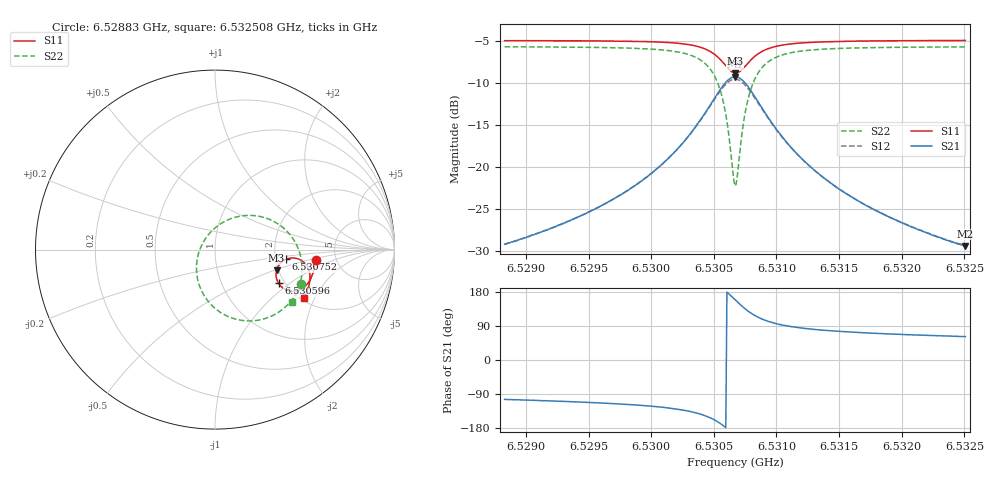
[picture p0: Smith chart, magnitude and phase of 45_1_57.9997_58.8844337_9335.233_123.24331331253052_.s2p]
#  HZ  S  RI  R  50.00
! Rohde & Schwarz Vector Network Analyzer
! Rohde-Schwarz,ZNB20-2Port,1311601062101988,3.16
! Created: UTC 3/21/2024, 12:52:14 AM
! freq[Hz]  re:S11  im:S11  re:S21  im:S21  re:S12  im:S12  re:S22  im:S22
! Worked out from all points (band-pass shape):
!   401 points, 6.52883 GHz to 6.532508 GHz, reference 50 ohm
!   highest |S21| = -9.26 dB at 6.530669 GHz (marker M1); lowest = -29.4 dB at 6.532508 GHz (marker M2)
!   |S21| within 3 dB of the highest: 6.530487 GHz to 6.530854 GHz (367.8 kHz wide, 0.00563 % of centre)
!   lowest |S11| = -8.8 dB at 6.530669 GHz (marker M3), VSWR 2.13, Z = 97.6 - j26 ohm
!   |S11| at or under -10 dB: nowhere
!   |S22| runs from -22.2 to -5.7 dB; largest |S21 - S12| = 0.015
!   S11 on the Smith chart (normalised r, x): 6.52883 GHz: 3.47, -0.60; 6.530596 GHz: 1.86, -0.83; 6.530752 GHz: 2.28, -0.30; 6.532508 GHz: 2.07, -1.66
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6.5288304e9  0.5607 -0.0593  -0.00832 -0.0339  -0.00916 -0.0337  0.4818 -0.1911
6.5294464e9  0.5513 -0.1126  -0.0186 -0.0483  -0.0199 -0.0478  0.449 -0.2528
6.529759e9  0.5416 -0.1435  -0.0304 -0.0616  -0.0321 -0.0609  0.4183 -0.2934
6.5300625e9  0.5235 -0.1792  -0.0558 -0.0833  -0.0583 -0.0816  0.3606 -0.3444
6.5302831e9  0.4933 -0.2115  -0.1028 -0.1068  -0.1062 -0.1029  0.2658 -0.3879
6.5304394e9  0.4438 -0.2308  -0.1823 -0.1135  -0.1849 -0.1054  0.1201 -0.3889
6.5305314e9  0.3925 -0.222  -0.2627 -0.0799  -0.2611 -0.0682  -0.0128 -0.3156
6.5305682e9  0.369 -0.206  -0.2974 -0.0455  -0.2923 -0.0331  -0.0641 -0.25
6.5305957e9  0.3538 -0.1873  -0.3188 -0.0087  -0.3106 0.00308  -0.0921 -0.1841
6.5306509e9  0.3401 -0.1349  -0.3309 0.0875  -0.318 0.0941  -0.0924 -0.0231
6.5306693e9  0.3429 -0.1155  -0.3222 0.1212  -0.3086 0.1254  -0.0713 0.0303
6.5306877e9  0.3498 -0.0974  -0.307 0.1527  -0.2935 0.1544  -0.0404 0.0788
6.5307245e9  0.3732 -0.068  -0.2612 0.2023  -0.2501 0.1999  0.0434 0.1511
6.5307521e9  0.3954 -0.0544  -0.2209 0.2246  -0.2119 0.2208  0.1144 0.1807
6.5307796e9  0.418 -0.0478  -0.1806 0.2349  -0.1738 0.2305  0.183 0.1907
6.5308164e9  0.4453 -0.0477  -0.133 0.235  -0.1287 0.2307  0.2627 0.1818
6.5309084e9  0.4917 -0.0681  -0.0546 0.2036  -0.0526 0.2012  0.3911 0.1118
6.5310463e9  0.5199 -0.1058  -0.00616 0.1513  -0.00501 0.1502  0.4638 0.00562
6.5312853e9  0.5296 -0.1527  0.0152 0.0973  0.0161 0.097  0.4854 -0.1062
6.531552e9  0.5262 -0.1879  0.0187 0.0675  0.0197 0.0672  0.4776 -0.1744
6.5319014e9  0.5166 -0.2231  0.0183 0.0471  0.0191 0.0469  0.4602 -0.229
6.5325082e9  0.4956 -0.272  0.0161 0.03  0.0166 0.0296  0.4289 -0.29
